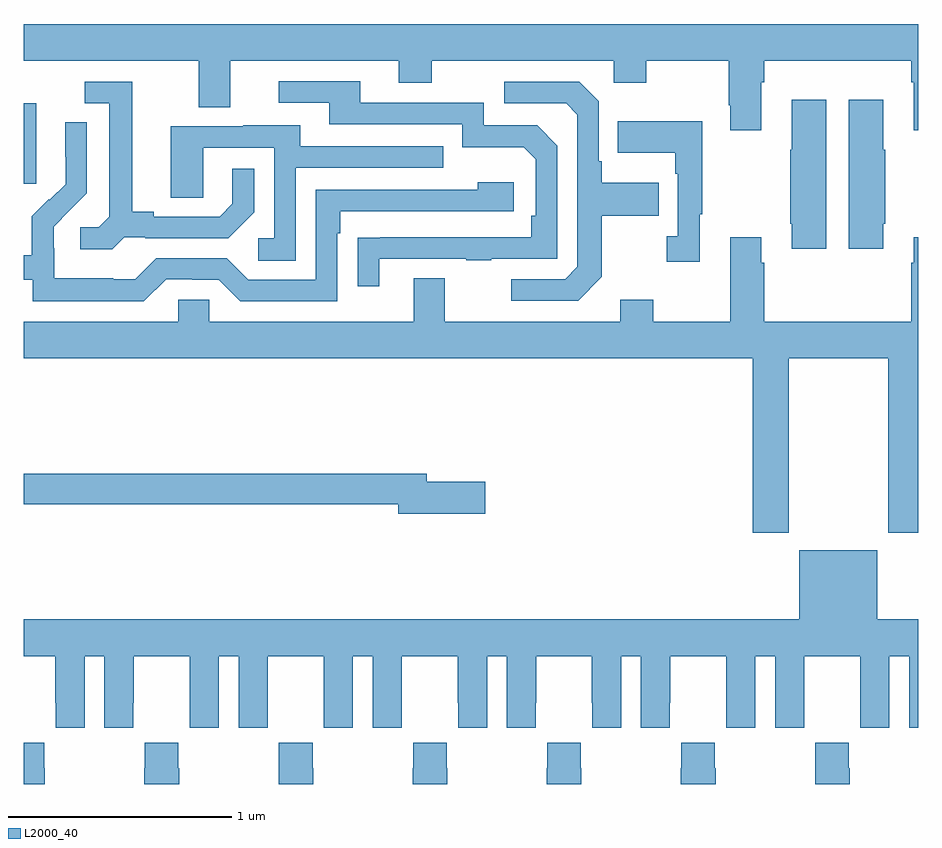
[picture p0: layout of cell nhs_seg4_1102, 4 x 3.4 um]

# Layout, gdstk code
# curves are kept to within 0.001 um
import gdstk
lib = gdstk.Library(unit=1e-6, precision=1e-09)
def R(c, l, rs):  # rectangles x0, y0, x1, y1
    for r in rs: c.add(gdstk.rectangle(r[:2], r[2:], *l))
def P(c, l, *ps):  # polygons
    for p in ps: c.add(gdstk.Polygon(p, *l))
L2000_40 = (2000, 40)

nhs_seg4_1102 = lib.new_cell('nhs_seg4_1102')
R(nhs_seg4_1102, L2000_40, [(167,813.585,167.056,813.946)])
P(nhs_seg4_1102, L2000_40, [(170.299,814.04),(170.312,814.04),(170.312,814.136),(170.969,814.136),(170.969,814.04),(170.981,814.04),(170.981,813.825),(171,813.825),(171,814.3),(167,814.3),(167,814.136),(167.783,814.136),(167.783,813.928),(167.923,813.928),(167.923,814.136),(168.677,814.136),(168.677,814.037),(168.825,814.037),(168.825,814.136),(169.638,814.136),(169.638,814.037),(169.785,814.037),(169.785,814.136),(170.152,814.136),(170.152,813.937),(170.159,813.937),(170.159,813.825),(170.299,813.825)],
  [(168.589,813.249),(168.979,813.249),(168.979,813.244),(169.091,813.244),(169.091,813.249),(169.386,813.249),(169.386,813.756),(169.296,813.846),(169.056,813.846),(169.056,813.948),(168.505,813.948),(168.505,814.044),(168.141,814.044),(168.141,813.948),(168.365,813.948),(168.365,813.852),(168.96,813.852),(168.96,813.749),(169.237,813.749),(169.29,813.696),(169.29,813.442),(169.27,813.442),(169.27,813.345),(168.493,813.344),(168.493,813.126),(168.589,813.126)],
  [(167.448,813.345),(167.542,813.345),(167.542,813.342),(167.914,813.342),(168.03,813.458),(168.03,813.652),(167.933,813.652),(167.933,813.495),(167.876,813.438),(167.581,813.438),(167.581,813.461),(167.485,813.461),(167.485,814.041),(167.271,814.041),(167.271,813.945),(167.381,813.945),(167.381,813.437),(167.334,813.39),(167.253,813.39),(167.253,813.293),(167.396,813.293)],
  [(169.585,813.169),(169.585,813.442),(169.841,813.442),(169.841,813.589),(169.585,813.589),(169.585,813.685),(169.572,813.685),(169.572,813.954),(169.485,814.041),(169.149,814.041),(169.149,813.945),(169.425,813.945),(169.476,813.894),(169.476,813.213),(169.422,813.159),(169.179,813.159),(169.179,813.063),(169.479,813.063)],
  [(170.845,813.406),(170.853,813.406),(170.853,813.737),(170.845,813.737),(170.845,813.961),(170.69,813.961),(170.69,813.294),(170.845,813.294)],
  [(170.59,813.961),(170.435,813.961),(170.435,813.737),(170.428,813.737),(170.428,813.406),(170.435,813.406),(170.435,813.294),(170.59,813.294)],
  [(170.023,813.449),(170.035,813.449),(170.035,813.865),(169.657,813.865),(169.657,813.725),(169.914,813.725),(169.914,813.629),(169.926,813.629),(169.926,813.35),(169.875,813.35),(169.875,813.237),(170.023,813.237)],
  [(167.637,813.159),(167.753,813.159),(167.753,813.156),(167.871,813.156),(167.967,813.06),(168.402,813.06),(168.402,813.365),(168.415,813.365),(168.415,813.462),(169.192,813.462),(169.192,813.592),(169.031,813.592),(169.031,813.558),(168.306,813.558),(168.306,813.156),(168.003,813.156),(167.907,813.252),(167.592,813.252),(167.499,813.159),(167.399,813.159),(167.399,813.163),(167.136,813.163),(167.136,813.297),(167.134,813.297),(167.134,813.394),(167.28,813.542),(167.28,813.86),(167.184,813.86),(167.184,813.706),(167.186,813.706),(167.186,813.584),(167.115,813.513),(167.112,813.516),(167.035,813.439),(167.035,813.265),(167,813.265),(167,813.156),(167.04,813.156),(167.04,813.059),(167.537,813.059)],
  [(168.216,813.657),(168.875,813.657),(168.875,813.753),(168.235,813.753),(168.235,813.847),(167.981,813.847),(167.981,813.843),(167.657,813.843),(167.657,813.523),(167.802,813.523),(167.802,813.747),(168.12,813.747),(168.12,813.342),(168.048,813.342),(168.048,813.241),(168.216,813.241)],
  [(170.421,812.804),(170.866,812.804),(170.866,812.025),(171,812.025),(171,813.346),(170.981,813.346),(170.981,813.233),(170.969,813.233),(170.969,812.968),(170.312,812.968),(170.312,813.233),(170.299,813.233),(170.299,813.346),(170.159,813.346),(170.159,812.968),(169.815,812.968),(169.815,813.067),(169.667,813.067),(169.667,812.968),(168.883,812.968),(168.883,813.163),(168.743,813.163),(168.743,812.968),(167.829,812.968),(167.829,813.066),(167.691,813.066),(167.691,812.968),(167,812.968),(167,812.804),(170.261,812.804),(170.261,812.025),(170.421,812.025)],
  [(169.063,812.252),(168.802,812.252),(168.802,812.288),(167,812.288),(167,812.152),(168.674,812.152),(168.674,812.11),(169.063,812.11)],
  [(167,811.472),(167.141,811.472),(167.141,811.264),(167.142,811.264),(167.142,811.152),(167.272,811.152),(167.272,811.472),(167.36,811.472),(167.36,811.152),(167.49,811.152),(167.49,811.264),(167.491,811.264),(167.491,811.472),(167.741,811.472),(167.741,811.264),(167.742,811.264),(167.742,811.152),(167.872,811.152),(167.872,811.472),(167.96,811.472),(167.96,811.152),(168.09,811.152),(168.09,811.264),(168.091,811.264),(168.091,811.472),(168.341,811.472),(168.341,811.264),(168.342,811.264),(168.342,811.152),(168.472,811.152),(168.472,811.472),(168.56,811.472),(168.56,811.152),(168.69,811.152),(168.69,811.264),(168.691,811.264),(168.691,811.472),(168.941,811.472),(168.941,811.264),(168.942,811.264),(168.942,811.152),(169.072,811.152),(169.072,811.472),(169.16,811.472),(169.16,811.152),(169.29,811.152),(169.29,811.264),(169.291,811.264),(169.291,811.472),(169.541,811.472),(169.541,811.264),(169.542,811.264),(169.542,811.152),(169.672,811.152),(169.672,811.472),(169.76,811.472),(169.76,811.152),(169.89,811.152),(169.89,811.264),(169.891,811.264),(169.891,811.472),(170.141,811.472),(170.141,811.264),(170.142,811.264),(170.142,811.152),(170.272,811.152),(170.272,811.472),(170.36,811.472),(170.36,811.152),(170.49,811.152),(170.49,811.264),(170.491,811.264),(170.491,811.472),(170.741,811.472),(170.741,811.264),(170.742,811.264),(170.742,811.152),(170.872,811.152),(170.872,811.472),(170.96,811.472),(170.96,811.152),(171,811.152),(171,811.636),(170.818,811.636),(170.818,811.945),(170.468,811.945),(170.468,811.636),(167,811.636)],
  [(167.694,810.971),(167.691,810.971),(167.691,811.084),(167.541,811.084),(167.541,810.971),(167.539,810.971),(167.539,810.9),(167.694,810.9)],
  [(168.294,810.971),(168.291,810.971),(168.291,811.084),(168.141,811.084),(168.141,810.971),(168.139,810.971),(168.139,810.9),(168.294,810.9)],
  [(169.494,810.971),(169.491,810.971),(169.491,811.084),(169.341,811.084),(169.341,810.971),(169.339,810.971),(169.339,810.9),(169.494,810.9)],
  [(170.094,810.971),(170.091,810.971),(170.091,811.084),(169.941,811.084),(169.941,810.971),(169.939,810.971),(169.939,810.9),(170.094,810.9)],
  [(170.694,810.971),(170.691,810.971),(170.691,811.084),(170.541,811.084),(170.541,810.971),(170.539,810.971),(170.539,810.9),(170.694,810.9)],
  [(168.894,810.971),(168.891,810.971),(168.891,811.084),(168.741,811.084),(168.741,810.971),(168.739,810.971),(168.739,810.9),(168.894,810.9)],
  [(167.094,810.971),(167.091,810.971),(167.091,811.084),(167,811.084),(167,810.9),(167.094,810.9)])

lib.write_gds('nhs_seg4_1102.gds')
